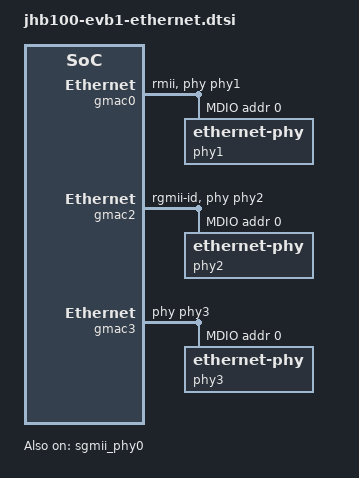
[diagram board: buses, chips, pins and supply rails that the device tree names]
// SPDX-License-Identifier: GPL-2.0 OR MIT
/*
 * Copyright (c) 2025 StarFive Technology Co., Ltd.
 */

&gmac0 {
	phy-mode = "rmii";
	phy-handle = <&phy1>;
	pinctrl-names = "default";
	pinctrl-0 = <&gmac0_mdio_pins &gmac0_rmii_pins>;
	status = "okay";

	mdio {
		#address-cells = <1>;
		#size-cells = <0>;
		compatible = "snps,dwmac-mdio";

		phy1: ethernet-phy@1 {
			reg = <0>;
		};
	};
};

&gmac2 {
	clocks = <&per2crg JHB100_PER2CLK_ETHER0_RMIIANDRGMII_ACLK_I>,
		 <&per2crg JHB100_PER2CLK_ETHER0_RMIIANDRGMII_CSR_I>,
		 <&per2crg JHB100_PER2CLK_ETHER0_RMIIANDRGMII_PTP_REF_I>,
		 <&per2crg JHB100_PER2CLK_GMAC2_RGMII_DIV>,
		 <&per2crg JHB100_PER2CLK_MAIN_ICG_EN_GMAC2>;
	assigned-clocks = <&per2crg JHB100_PER2CLK_GMAC2_RGMII_125_MUX>,
			  <&per2crg JHB100_PER2CLK_GMAC2_RX_MUX_DLY>,
			  <&per2crg JHB100_PER2CLK_GMAC2_TX_MUX>,
			  <&per2crg JHB100_PER2CLK_GMAC2_TXCK_MUX_DLY>;
	assigned-clock-parents = <&per2_gmac2_rgmii_rx>,
				 <&per2crg JHB100_PER2CLK_GMAC2_RGMII_125_MUX>,
				 <&per2crg JHB100_PER2CLK_GMAC2_RGMII_DIV>,
				 <&per2crg JHB100_PER2CLK_GMAC2_TX_MUX>;
	phy-mode = "rgmii-id";
	phy-handle = <&phy2>;
	pinctrl-names = "default";
	pinctrl-0 = <&gmac2_mdio_pins &gmac2_rgmii_pins>;
	status = "okay";

	mdio {
		#address-cells = <1>;
		#size-cells = <0>;
		compatible = "snps,dwmac-mdio";

		phy2: ethernet-phy@2 {
			reg = <0>;
			rx-internal-delay-ps = <1350>;
			tx-internal-delay-ps = <1650>;
			motorcomm,rx-clk-drv-microamp = <3970>;
			motorcomm,rx-data-drv-microamp = <4350>;
		};
	};
};

&gmac3 {
	phy-handle = <&phy3>;
	pinctrl-names = "default";
	pinctrl-0 = <&gmac3_mdio_pins>;
	snps,ps-speed = <1000>;
	status = "okay";

	mdio {
		#address-cells = <1>;
		#size-cells = <0>;
		compatible = "snps,dwmac-mdio";

		phy3: ethernet-phy@3 {
			reg = <0>;
			motorcomm,clk-out-frequency-hz = <25000000>;
		};
	};
};

&sgmii_phy0 {
	status = "okay";
};
